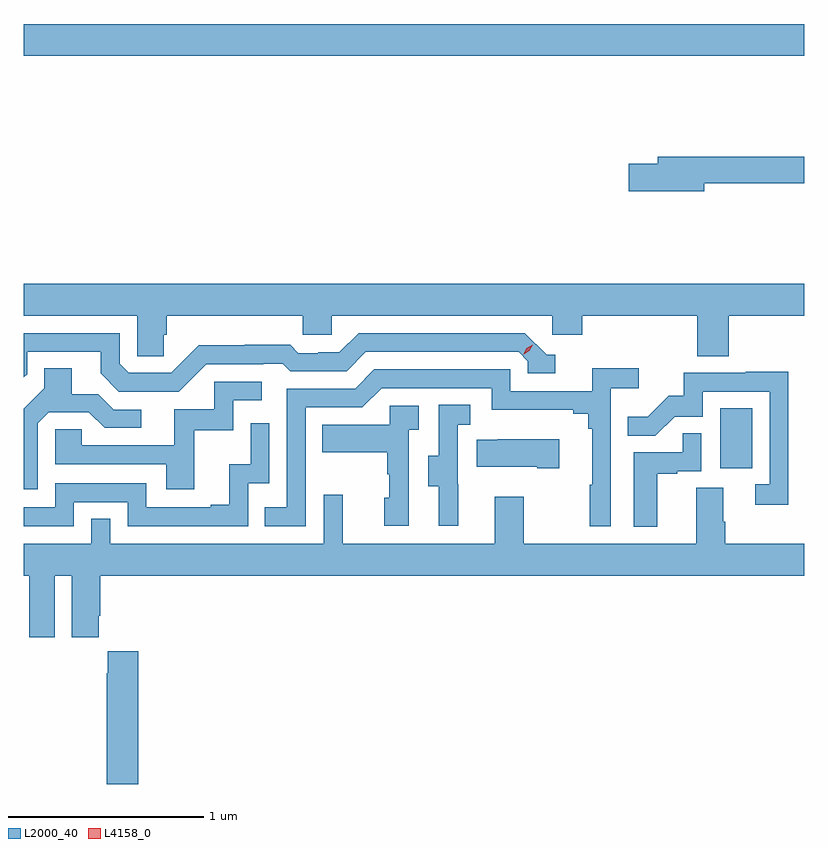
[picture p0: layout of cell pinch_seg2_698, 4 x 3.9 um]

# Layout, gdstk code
import gdstk
lib = gdstk.Library(unit=1e-6, precision=1e-09)
def R(c, l, rs):  # rectangles x0, y0, x1, y1
    for r in rs: c.add(gdstk.rectangle(r[:2], r[2:], *l))
def P(c, l, *ps):  # polygons
    for p in ps: c.add(gdstk.Polygon(p, *l))
L2000_40 = (2000, 40)
L4158_0 = (4158, 0)

pinch_seg2_698 = lib.new_cell('pinch_seg2_698')
R(pinch_seg2_698, L2000_40, [(1130.396,588.246,1130.56,588.553), (1126.826,590.36,1130.826,590.524)])
P(pinch_seg2_698, L2000_40, [(1130.314,589.708),(1130.826,589.708),(1130.826,589.844),(1130.075,589.844),(1130.075,589.808),(1129.926,589.808),(1129.926,589.666),(1130.314,589.666)],
  [(1127.543,588.93),(1127.558,588.93),(1127.558,589.028),(1128.255,589.028),(1128.255,588.93),(1128.405,588.93),(1128.405,589.028),(1129.536,589.028),(1129.536,588.93),(1129.688,588.93),(1129.688,589.028),(1130.279,589.028),(1130.279,588.82),(1130.439,588.82),(1130.439,589.028),(1130.826,589.028),(1130.826,589.192),(1126.826,589.192),(1126.826,589.028),(1127.406,589.028),(1127.406,588.82),(1127.543,588.82)],
  [(1127.76,588.78),(1128.053,588.78),(1128.053,588.783),(1128.152,588.783),(1128.191,588.744),(1128.48,588.744),(1128.579,588.843),(1129.362,588.843),(1129.41,588.795),(1129.41,588.732),(1129.549,588.732),(1129.549,588.828),(1129.506,588.828),(1129.395,588.939),(1128.542,588.939),(1128.443,588.84),(1128.336,588.84),(1128.336,588.837),(1128.233,588.837),(1128.191,588.88),(1127.958,588.88),(1127.958,588.877),(1127.722,588.877),(1127.58,588.735),(1127.364,588.735),(1127.316,588.783),(1127.316,588.939),(1126.826,588.939),(1126.826,588.713),(1126.842,588.729),(1126.842,588.843),(1127.219,588.843),(1127.219,588.733),(1127.313,588.639),(1127.619,588.639)],
  [(1128.27,588.558),(1128.561,588.558),(1128.66,588.657),(1129.224,588.657),(1129.224,588.545),(1129.643,588.545),(1129.643,588.526),(1129.72,588.526),(1129.72,588.449),(1129.739,588.449),(1129.739,588.161),(1129.728,588.161),(1129.728,587.949),(1129.836,587.949),(1129.836,588.656),(1129.978,588.656),(1129.978,588.758),(1129.739,588.758),(1129.739,588.642),(1129.32,588.642),(1129.32,588.753),(1128.623,588.753),(1128.524,588.654),(1128.174,588.654),(1128.174,588.045),(1128.061,588.045),(1128.061,587.949),(1128.27,587.949)],
  [(1126.896,588.477),(1126.953,588.534),(1127.159,588.534),(1127.24,588.453),(1127.428,588.453),(1127.428,588.546),(1127.286,588.546),(1127.206,588.626),(1127.071,588.626),(1127.071,588.758),(1126.931,588.758),(1126.931,588.656),(1126.826,588.551),(1126.826,588.138),(1126.896,588.138)],
  [(1130.745,588.74),(1130.527,588.74),(1130.527,588.735),(1130.209,588.735),(1130.209,588.618),(1130.132,588.618),(1130.025,588.511),(1129.921,588.511),(1129.921,588.412),(1130.064,588.412),(1130.162,588.51),(1130.307,588.51),(1130.307,588.639),(1130.649,588.639),(1130.649,588.165),(1130.577,588.165),(1130.577,588.06),(1130.745,588.06)],
  [(1127.699,588.441),(1127.898,588.441),(1127.898,588.594),(1128.046,588.594),(1128.046,588.69),(1127.802,588.69),(1127.802,588.549),(1127.597,588.549),(1127.597,588.363),(1127.123,588.363),(1127.123,588.447),(1126.986,588.447),(1126.986,588.267),(1127.555,588.267),(1127.555,588.138),(1127.699,588.138)],
  [(1129.052,588.165),(1129.05,588.165),(1129.05,588.469),(1129.114,588.469),(1129.114,588.572),(1128.954,588.572),(1128.954,588.309),(1128.899,588.309),(1128.899,588.154),(1128.953,588.154),(1128.953,587.952),(1129.052,587.952)],
  [(1128.798,588.443),(1128.85,588.443),(1128.85,588.567),(1128.702,588.567),(1128.702,588.469),(1128.355,588.469),(1128.355,588.329),(1128.69,588.329),(1128.69,588.215),(1128.7,588.215),(1128.7,588.096),(1128.674,588.096),(1128.674,587.952),(1128.798,587.952)],
  [(1127.082,588.072),(1127.358,588.072),(1127.358,587.949),(1127.976,587.949),(1127.976,588.168),(1128.084,588.168),(1128.084,588.478),(1127.988,588.478),(1127.988,588.266),(1127.879,588.266),(1127.879,588.058),(1127.783,588.058),(1127.783,588.045),(1127.454,588.045),(1127.454,588.168),(1126.986,588.168),(1126.986,588.045),(1126.826,588.045),(1126.826,587.949),(1127.082,587.949)],
  [(1130.074,588.219),(1130.177,588.219),(1130.177,588.231),(1130.298,588.231),(1130.298,588.425),(1130.203,588.425),(1130.203,588.327),(1129.952,588.327),(1129.952,587.945),(1130.074,587.945)],
  [(1129.57,588.394),(1129.255,588.394),(1129.255,588.391),(1129.147,588.391),(1129.147,588.254),(1129.457,588.254),(1129.457,588.247),(1129.57,588.247)],
  [(1126.984,587.696),(1127.072,587.696),(1127.072,587.379),(1127.209,587.379),(1127.209,587.491),(1127.216,587.491),(1127.216,587.696),(1130.826,587.696),(1130.826,587.86),(1130.421,587.86),(1130.421,587.972),(1130.413,587.972),(1130.413,588.146),(1130.273,588.146),(1130.273,587.86),(1129.389,587.86),(1129.389,588.1),(1129.241,588.1),(1129.241,587.86),(1128.461,587.86),(1128.461,588.109),(1128.363,588.109),(1128.363,587.86),(1127.268,587.86),(1127.268,587.987),(1127.172,587.987),(1127.172,587.86),(1126.826,587.86),(1126.826,587.696),(1126.853,587.696),(1126.853,587.379),(1126.984,587.379)],
  [(1127.411,587.308),(1127.255,587.308),(1127.255,587.195),(1127.251,587.195),(1127.251,586.627),(1127.411,586.627)])
P(pinch_seg2_698, L4158_0, [(1129.387,588.828),(1129.387,588.828),(1129.403,588.861),(1129.434,588.88),(1129.434,588.88),(1129.434,588.88),(1129.418,588.848),(1129.387,588.828)])

lib.write_gds('pinch_seg2_698.gds')
